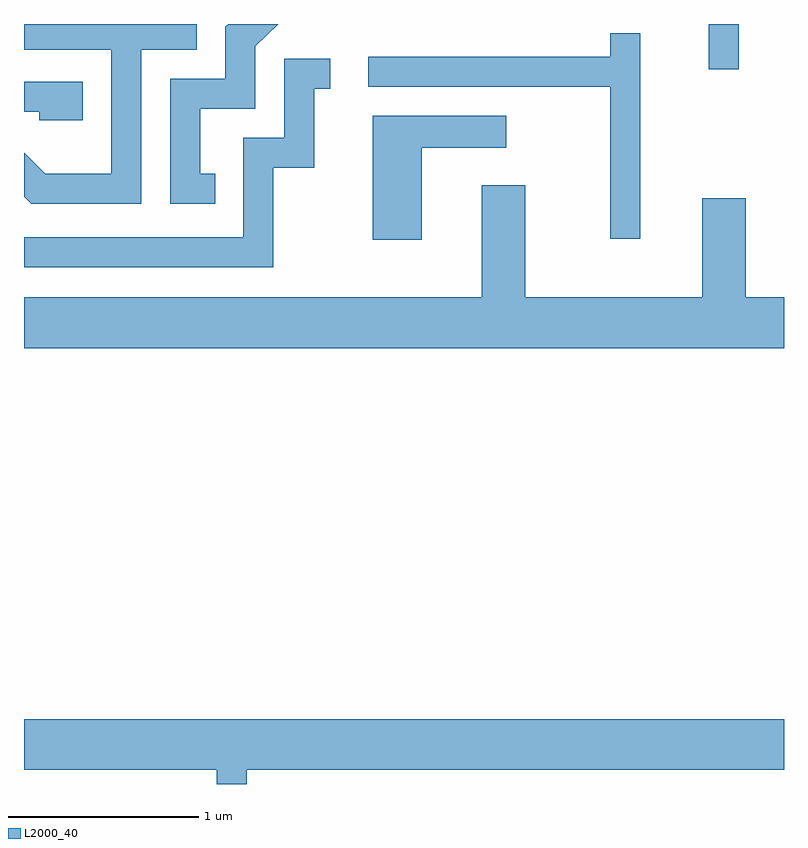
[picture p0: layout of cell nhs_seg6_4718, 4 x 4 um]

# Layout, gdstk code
import gdstk
lib = gdstk.Library(unit=1e-6, precision=1e-09)
def R(c, l, rs):  # rectangles x0, y0, x1, y1
    for r in rs: c.add(gdstk.rectangle(r[:2], r[2:], *l))
def P(c, l, *ps):  # polygons
    for p in ps: c.add(gdstk.Polygon(p, *l))
L2000_40 = (2000, 40)

nhs_seg6_4718 = lib.new_cell('nhs_seg6_4718')
R(nhs_seg6_4718, L2000_40, [(333.216,1575.923,333.374,1576.162)])
P(nhs_seg6_4718, L2000_40, [(330.229,1576.026),(330.519,1576.026),(330.519,1576.162),(329.611,1576.162),(329.611,1576.026),(330.071,1576.026),(330.071,1575.374),(329.722,1575.374),(329.611,1575.485),(329.611,1575.254),(329.649,1575.216),(330.229,1575.216)],
  [(330.618,1575.374),(330.539,1575.374),(330.539,1575.716),(330.829,1575.716),(330.829,1576.044),(330.948,1576.162),(330.686,1576.162),(330.671,1576.147),(330.671,1575.874),(330.381,1575.874),(330.381,1575.216),(330.618,1575.216)],
  [(332.854,1576.113),(332.696,1576.113),(332.696,1575.989),(331.423,1575.989),(331.423,1575.831),(332.696,1575.831),(332.696,1575.033),(332.854,1575.033)],
  [(330.924,1575.406),(331.139,1575.406),(331.139,1575.821),(331.223,1575.821),(331.223,1575.979),(330.981,1575.979),(330.981,1575.564),(330.766,1575.564),(330.766,1575.039),(329.611,1575.039),(329.611,1574.881),(330.924,1574.881)],
  [(329.919,1575.859),(329.611,1575.859),(329.611,1575.701),(329.691,1575.701),(329.691,1575.656),(329.919,1575.656)],
  [(331.704,1575.511),(332.148,1575.511),(332.148,1575.679),(331.446,1575.679),(331.446,1575.026),(331.704,1575.026)],
  [(333.611,1574.724),(333.409,1574.724),(333.409,1575.244),(333.181,1575.244),(333.181,1574.724),(332.249,1574.724),(332.249,1575.314),(332.021,1575.314),(332.021,1574.724),(329.611,1574.724),(329.611,1574.456),(333.611,1574.456)],
  [(330.784,1572.236),(333.611,1572.236),(333.611,1572.504),(329.611,1572.504),(329.611,1572.236),(330.626,1572.236),(330.626,1572.162),(330.784,1572.162)])

lib.write_gds('nhs_seg6_4718.gds')
